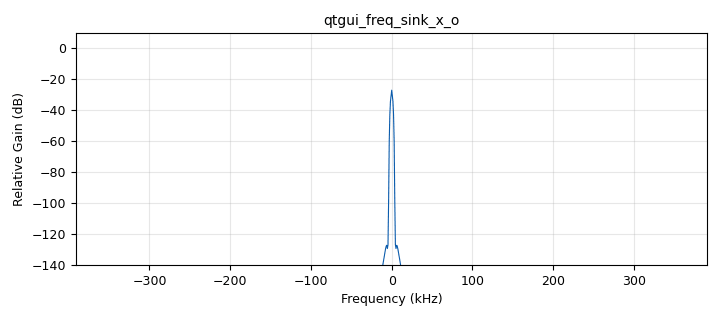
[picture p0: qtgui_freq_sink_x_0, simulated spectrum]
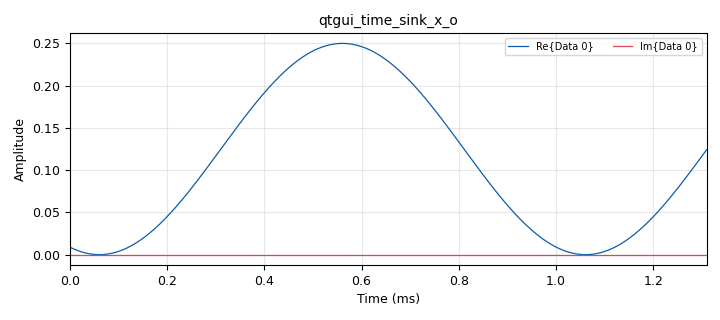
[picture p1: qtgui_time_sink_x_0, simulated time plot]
options:
  parameters:
    author: SantiagoyTatiana
    copyright: UIS
    generate_options: qt_gui
    id: Mdulador_de_amplitud
    output_language: python
    title: Modulador de amplitud
  states: {}

blocks:
- name: Ac
  id: variable_qtgui_range
  parameters:
    label: Amplitud portadora (Ac)
    start: '0'
    step: '1e-3'
    stop: '1'
    value: '125e-3'
  states: {}
- name: Am
  id: variable_qtgui_range
  parameters:
    label: Amplitud del mensaje
    start: '0'
    step: '100e-3'
    stop: '4'
    value: '1'
  states: {}
- name: B
  id: variable_qtgui_range
  parameters:
    label: Cambio de banda
    start: '-1'
    step: '2'
    stop: '1'
    value: '1'
  states: {}
- name: GTX
  id: variable_qtgui_range
  parameters:
    label: Ganancia del transmisor
    start: '0'
    step: '1'
    stop: '30'
    value: '0'
  states: {}
- name: fc
  id: variable_qtgui_range
  parameters:
    label: Frecuencia de portadora
    start: 50e6
    step: 1e6
    stop: 2.2e9
    value: 400e6
  states: {}
- name: fm
  id: variable_qtgui_range
  parameters:
    label: Frecuencia de mensaje
    start: '300'
    step: '100'
    stop: samp_rate/4
    value: 1e3
  states: {}
- name: ka
  id: variable_qtgui_range
  parameters:
    start: '0'
    step: '0.1'
    stop: '2'
    value: '1'
  states: {}
- name: samp_rate
  id: variable
  parameters:
    value: 125e5/16
  states: {}
- name: analog_sig_source_x_0
  id: analog_sig_source_x
  parameters:
    amp: Am
    freq: fm
    offset: '0'
    phase: '0'
    samp_rate: samp_rate
    type: float
    waveform: analog.GR_SIN_WAVE
  states: {}
- name: blocks_add_const_vxx_0
  id: blocks_add_const_vxx
  parameters:
    const: '1'
    type: float
  states: {}
- name: blocks_float_to_complex_0
  id: blocks_float_to_complex
  parameters: {}
  states: {}
- name: blocks_multiply_const_vxx_0
  id: blocks_multiply_const_vxx
  parameters:
    const: ka
    type: float
  states: {}
- name: blocks_multiply_const_vxx_1
  id: blocks_multiply_const_vxx
  parameters:
    const: Ac
    type: complex
  states: {}
- name: blocks_null_source_0
  id: blocks_null_source
  parameters:
    type: float
  states: {}
- name: pad_sink_0
  id: pad_sink
  parameters:
    label: outpad_sink_o
    type: complex
  states: {state: disabled}
- name: punto1_0
  id: punto1
  parameters:
    Ac: Ac
    ka: '1'
  states: {state: disabled}
- name: qtgui_freq_sink_x_0
  id: qtgui_freq_sink_x
  parameters:
    average: '0.2'
    bw: samp_rate
    fc: '0'
    fftsize: '1024'
    name: qtgui_freq_sink_x_o
    type: complex
  states: {}
- name: qtgui_time_sink_x_0
  id: qtgui_time_sink_x
  parameters:
    autoscale: 'True'
    name: qtgui_time_sink_x_o
    size: '1024'
    srate: samp_rate
    type: complex
  states: {}
- name: uhd_usrp_sink_0
  id: uhd_usrp_sink
  parameters:
    ant0: '"TX/RX"'
    center_freq0: fc
    gain0: GTX
    samp_rate: samp_rate
    sync: pc_clock
    type: fc32
  states: {}

connections:
- [analog_sig_source_x_0, '0', blocks_multiply_const_vxx_0, '0']
- [analog_sig_source_x_0, '0', punto1_0, '0']
- [blocks_add_const_vxx_0, '0', blocks_float_to_complex_0, '0']
- [blocks_float_to_complex_0, '0', blocks_multiply_const_vxx_1, '0']
- [blocks_multiply_const_vxx_0, '0', blocks_add_const_vxx_0, '0']
- [blocks_multiply_const_vxx_1, '0', pad_sink_0, '0']
- [blocks_multiply_const_vxx_1, '0', qtgui_freq_sink_x_0, '0']
- [blocks_multiply_const_vxx_1, '0', qtgui_time_sink_x_0, '0']
- [blocks_multiply_const_vxx_1, '0', uhd_usrp_sink_0, '0']
- [blocks_null_source_0, '0', blocks_float_to_complex_0, '1']
- [punto1_0, '0', qtgui_freq_sink_x_0, '0']
- [punto1_0, '0', qtgui_time_sink_x_0, '0']
- [punto1_0, '0', uhd_usrp_sink_0, '0']

metadata:
  file_format: 1
  grc_version: v3.11.0.0git-810-g1ecb8565
